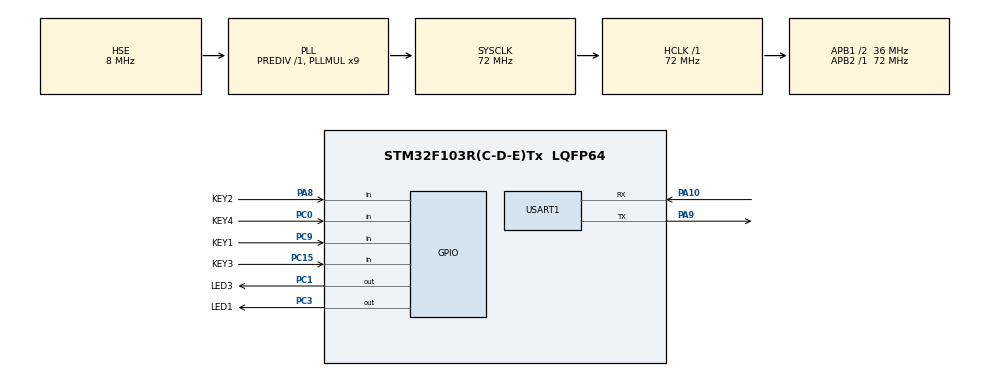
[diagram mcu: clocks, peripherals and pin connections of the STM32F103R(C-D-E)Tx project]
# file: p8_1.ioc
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Mcu.Family=STM32F1
Mcu.Name=STM32F103R(C-D-E)Tx
Mcu.Package=LQFP64
NVIC.PriorityGroup=NVIC_PRIORITYGROUP_4
NVIC.TIM6_IRQn=true\:0\:0\:true\:false\:true\:false\:true\:true
NVIC.TimeBase=TIM6_IRQn
NVIC.TimeBaseIP=TIM6
PA10.Mode=Asynchronous
PA10.Signal=USART1_RX
PA13.Mode=Serial_Wire
PA13.Signal=SYS_JTMS-SWDIO
PA14.Mode=Serial_Wire
PA14.Signal=SYS_JTCK-SWCLK
PA8.GPIO_Label=KEY2
PA8.GPIO_PuPd=GPIO_PULLUP
PA8.Signal=GPIO_Input
PA9.Mode=Asynchronous
PA9.Signal=USART1_TX
PC0.GPIO_Label=KEY4
PC0.GPIO_PuPd=GPIO_PULLUP
PC0.Signal=GPIO_Input
PC1.GPIO_Label=LED3
PC1.Signal=GPIO_Output
PC15-OSC32_OUT.GPIO_Label=KEY3
PC15-OSC32_OUT.GPIO_PuPd=GPIO_PULLUP
PC15-OSC32_OUT.Signal=GPIO_Input
PC3.GPIO_Label=LED1
PC3.Signal=GPIO_Output
PC9.GPIO_Label=KEY1
PC9.GPIO_PuPd=GPIO_PULLUP
PC9.Signal=GPIO_Input
PD0-OSC_IN.Mode=HSE-External-Oscillator
PD0-OSC_IN.Signal=RCC_OSC_IN
PD1-OSC_OUT.Mode=HSE-External-Oscillator
PD1-OSC_OUT.Signal=RCC_OSC_OUT
ProjectManager.HeapSize=0x200
ProjectManager.StackSize=0x400
ProjectManager.TargetToolchain=STM32CubeIDE
RCC.AHBFreq_Value=72000000
RCC.APB1CLKDivider=RCC_HCLK_DIV2
RCC.APB1Freq_Value=36000000
RCC.APB1TimFreq_Value=72000000
RCC.APB2Freq_Value=72000000
RCC.APB2TimFreq_Value=72000000
RCC.HCLKFreq_Value=72000000
RCC.PLLMUL=RCC_PLL_MUL9
RCC.PLLSourceVirtual=RCC_PLLSOURCE_HSE
RCC.SYSCLKFreq_VALUE=72000000
RCC.SYSCLKSource=RCC_SYSCLKSOURCE_PLLCLK
RCC.USBFreq_Value=72000000
USART1.VirtualMode=VM_ASYNC
VP_SYS_VS_tim6.Mode=TIM6
board=custom

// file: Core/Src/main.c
/* USER CODE BEGIN Header */
/**
  ******************************************************************************
  * @file           : main.c
  * @brief          : Main program body
  ******************************************************************************
  * @attention
  *
  * Copyright (c) 2026 STMicroelectronics.
  * All rights reserved.
  *
  * This software is licensed under terms that can be found in the LICENSE file
  * in the root directory of this software component.
  * If no LICENSE file comes with this software, it is provided AS-IS.
  *
  ******************************************************************************
  */
/* USER CODE END Header */
#include "main.h"

/* USER CODE BEGIN Includes */
#include "FreeRTOS.h"
#include "task.h"
#include "queue.h"
#include "string.h"
/* USER CODE END Includes */

UART_HandleTypeDef huart1;

/* USER CODE BEGIN PV */
static QueueHandle_t xQueue1;
/* USER CODE END PV */

void SystemClock_Config(void);
static void MX_GPIO_Init(void);
static void MX_USART1_UART_Init(void);
/* USER CODE BEGIN PFP */
static int KeyScan(GPIO_TypeDef *GPIOx,uint16_t GPIO_Pin,GPIO_PinState *Previous);
static void vKeyTask(void *pvParameters);
static void vMonkeyTask(void*pvParameters);
static void PrintString(const char*Str);
/* USER CODE END PFP */

/* USER CODE BEGIN 0 */
static int KeyScan(GPIO_TypeDef *GPIOx,uint16_t GPIO_Pin,GPIO_PinState *Previous)
{
	int ret = 0;
	GPIO_PinState current = HAL_GPIO_ReadPin(GPIOx, GPIO_Pin);

	if(current != *Previous && current == GPIO_PIN_SET)
	{
		ret = 1;
	}
	*Previous =current;
	return ret;
}
static void vKeyTask(void *pvParameters)
{
	GPIO_PinState key1Previous = GPIO_PIN_SET;
	GPIO_PinState key2Previous = GPIO_PIN_SET;
	GPIO_PinState key3Previous = GPIO_PIN_SET;
	GPIO_PinState key4Previous = GPIO_PIN_SET;

	for(;;)
	{
		if(KeyScan(KEY1_GPIO_Port, KEY1_Pin, &key1Previous))
		{
			int num = 1;
			xQueueSend(xQueue1,&num,portMAX_DELAY);
		}
		if(KeyScan(KEY2_GPIO_Port, KEY2_Pin, &key2Previous))
		{
			int num = 2;
			xQueueSend(xQueue1,&num,portMAX_DELAY);
		}
		if(KeyScan(KEY3_GPIO_Port, KEY3_Pin, &key3Previous))
		{
			int num = 3;
			xQueueSend(xQueue1,&num,portMAX_DELAY);
		}
		if(KeyScan(KEY4_GPIO_Port, KEY4_Pin, &key4Previous))
		{
			int num = 4;
			xQueueSend(xQueue1,&num,portMAX_DELAY);
		}
		vTaskDelay(pdMS_TO_TICKS(10));
	}
}
static void vMonkeyTask(void*pvParameters)
{
	int num;

	for(;;)
	{
		xQueueReceive(xQueue1,&num, portMAX_DELAY);

		if(num == 1){PrintString("task1");}
		else if(num == 2){PrintString("task2");}
		else if(num == 3){PrintString("task3");}
		else if(num == 4){PrintString("task4");}

		for(int i=0;i<20;i++)
		{
			PrintString(".");
			vTaskDelay(pdMS_TO_TICKS(50));
		}
		PrintString("\n");
	}
}
static void PrintString(const char*Str)
{
	vTaskSuspendAll();
	HAL_UART_Transmit(&huart1,(const uint8_t*)Str,strlen(Str),HAL_MAX_DELAY);
	xTaskResumeAll();
}
/* USER CODE END 0 */

int main(void)
{

  /* MCU Configuration--------------------------------------------------------*/

  /* Reset of all peripherals, Initializes the Flash interface and the Systick. */
  HAL_Init();

  /* Configure the system clock */
  SystemClock_Config();

  /* Initialize all configured peripherals */
  MX_GPIO_Init();
  MX_USART1_UART_Init();
  /* USER CODE BEGIN 2 */
  xQueue1 = xQueueCreate(10,sizeof(int));
  xTaskCreate(vKeyTask, "Key", 64, NULL, 2, NULL);
  xTaskCreate(vMonkeyTask, "monkey", 64, NULL, 1, NULL);
  vTaskStartScheduler();

  /* USER CODE END 2 */

  /* Infinite loop */
  while (1)
  {

  }
}

void SystemClock_Config(void)
{
  RCC_OscInitTypeDef RCC_OscInitStruct = {0};
  RCC_ClkInitTypeDef RCC_ClkInitStruct = {0};

  /** Initializes the RCC Oscillators according to the specified parameters
  * in the RCC_OscInitTypeDef structure.
  */
  RCC_OscInitStruct.OscillatorType = RCC_OSCILLATORTYPE_HSE;
  RCC_OscInitStruct.HSEState = RCC_HSE_ON;
  RCC_OscInitStruct.HSEPredivValue = RCC_HSE_PREDIV_DIV1;
  RCC_OscInitStruct.HSIState = RCC_HSI_ON;
  RCC_OscInitStruct.PLL.PLLState = RCC_PLL_ON;
  RCC_OscInitStruct.PLL.PLLSource = RCC_PLLSOURCE_HSE;
  RCC_OscInitStruct.PLL.PLLMUL = RCC_PLL_MUL9;
  if (HAL_RCC_OscConfig(&RCC_OscInitStruct) != HAL_OK)
  {
    Error_Handler();
  }

  /** Initializes the CPU, AHB and APB buses clocks
  */
  RCC_ClkInitStruct.ClockType = RCC_CLOCKTYPE_HCLK|RCC_CLOCKTYPE_SYSCLK
                              |RCC_CLOCKTYPE_PCLK1|RCC_CLOCKTYPE_PCLK2;
  RCC_ClkInitStruct.SYSCLKSource = RCC_SYSCLKSOURCE_PLLCLK;
  RCC_ClkInitStruct.AHBCLKDivider = RCC_SYSCLK_DIV1;
  RCC_ClkInitStruct.APB1CLKDivider = RCC_HCLK_DIV2;
  RCC_ClkInitStruct.APB2CLKDivider = RCC_HCLK_DIV1;

  if (HAL_RCC_ClockConfig(&RCC_ClkInitStruct, FLASH_LATENCY_2) != HAL_OK)
  {
    Error_Handler();
  }
}

static void MX_USART1_UART_Init(void)
{

  huart1.Instance = USART1;
  huart1.Init.BaudRate = 115200;
  huart1.Init.WordLength = UART_WORDLENGTH_8B;
  huart1.Init.StopBits = UART_STOPBITS_1;
  huart1.Init.Parity = UART_PARITY_NONE;
  huart1.Init.Mode = UART_MODE_TX_RX;
  huart1.Init.HwFlowCtl = UART_HWCONTROL_NONE;
  huart1.Init.OverSampling = UART_OVERSAMPLING_16;
  if (HAL_UART_Init(&huart1) != HAL_OK)
  {
    Error_Handler();
  }

}

static void MX_GPIO_Init(void)
{
  GPIO_InitTypeDef GPIO_InitStruct = {0};

  /* GPIO Ports Clock Enable */
  __HAL_RCC_GPIOC_CLK_ENABLE();
  __HAL_RCC_GPIOD_CLK_ENABLE();
  __HAL_RCC_GPIOA_CLK_ENABLE();

  /*Configure GPIO pin Output Level */
  HAL_GPIO_WritePin(GPIOC, LED3_Pin|LED1_Pin, GPIO_PIN_RESET);

  /*Configure GPIO pins : KEY3_Pin KEY4_Pin KEY1_Pin */
  GPIO_InitStruct.Pin = KEY3_Pin|KEY4_Pin|KEY1_Pin;
  GPIO_InitStruct.Mode = GPIO_MODE_INPUT;
  GPIO_InitStruct.Pull = GPIO_PULLUP;
  HAL_GPIO_Init(GPIOC, &GPIO_InitStruct);

  /*Configure GPIO pins : LED3_Pin LED1_Pin */
  GPIO_InitStruct.Pin = LED3_Pin|LED1_Pin;
  GPIO_InitStruct.Mode = GPIO_MODE_OUTPUT_PP;
  GPIO_InitStruct.Pull = GPIO_NOPULL;
  GPIO_InitStruct.Speed = GPIO_SPEED_FREQ_LOW;
  HAL_GPIO_Init(GPIOC, &GPIO_InitStruct);

  /*Configure GPIO pin : KEY2_Pin */
  GPIO_InitStruct.Pin = KEY2_Pin;
  GPIO_InitStruct.Mode = GPIO_MODE_INPUT;
  GPIO_InitStruct.Pull = GPIO_PULLUP;
  HAL_GPIO_Init(KEY2_GPIO_Port, &GPIO_InitStruct);

}

void HAL_TIM_PeriodElapsedCallback(TIM_HandleTypeDef *htim)
{
  if (htim->Instance == TIM6)
  {
    HAL_IncTick();
  }
}

void Error_Handler(void)
{
  __disable_irq();
  while (1)
  {
  }
}
